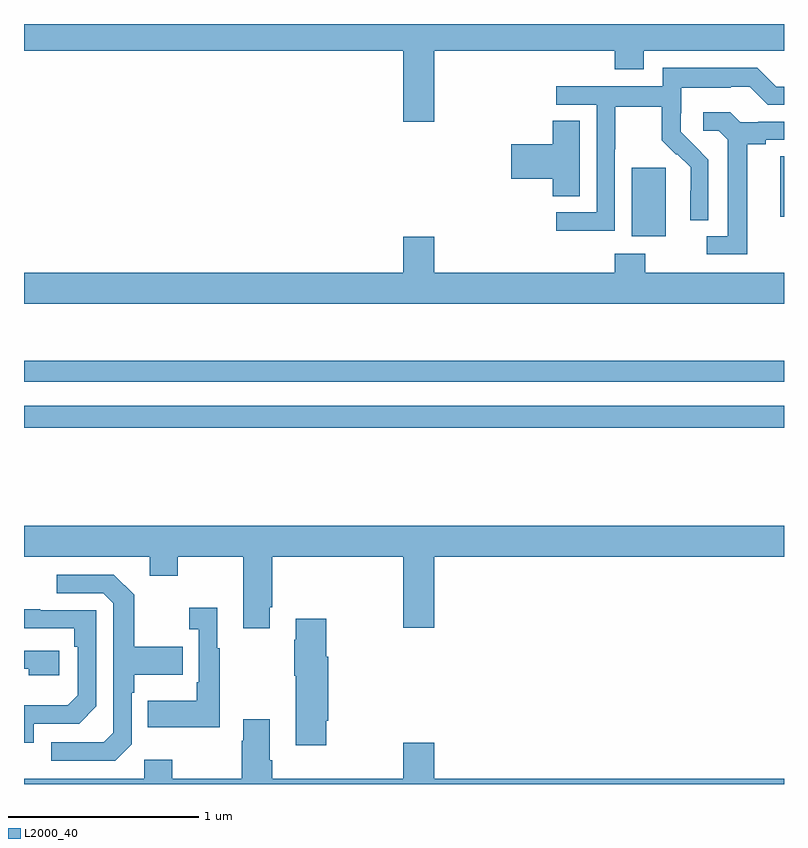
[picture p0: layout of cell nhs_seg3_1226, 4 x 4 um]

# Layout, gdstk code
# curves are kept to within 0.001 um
import gdstk
lib = gdstk.Library(unit=1e-6, precision=1e-09)
def R(c, l, rs):  # rectangles x0, y0, x1, y1
    for r in rs: c.add(gdstk.rectangle(r[:2], r[2:], *l))
def P(c, l, *ps):  # polygons
    for p in ps: c.add(gdstk.Polygon(p, *l))
L2000_40 = (2000, 40)

nhs_seg3_1226 = lib.new_cell('nhs_seg3_1226')
R(nhs_seg3_1226, L2000_40, [(175,688.276,179,688.392), (175,688.518,179,688.627), (178.199,689.282,178.378,689.643), (178.979,689.385,179,689.705)])
P(nhs_seg3_1226, L2000_40, [(177.16,690.26),(178.109,690.26),(178.109,690.161),(178.261,690.161),(178.261,690.26),(179,690.26),(179,690.4),(175,690.4),(175,690.26),(176.996,690.26),(176.996,689.886),(177.16,689.886)],
  [(178.11,689.74),(178.113,689.74),(178.113,689.964),(178.357,689.964),(178.357,689.789),(178.434,689.712),(178.437,689.715),(178.508,689.645),(178.508,689.522),(178.506,689.522),(178.506,689.368),(178.602,689.368),(178.602,689.686),(178.456,689.834),(178.456,689.931),(178.458,689.931),(178.458,690.065),(178.721,690.065),(178.721,690.069),(178.821,690.069),(178.914,689.976),(179,689.976),(179,690.069),(178.959,690.069),(178.859,690.169),(178.362,690.169),(178.362,690.072),(177.801,690.072),(177.801,689.976),(178.014,689.976),(178.014,689.409),(177.801,689.409),(177.801,689.311),(178.11,689.311)],
  [(178.807,689.768),(178.903,689.768),(178.903,689.79),(179,689.79),(179,689.886),(178.864,689.886),(178.864,689.883),(178.77,689.883),(178.718,689.935),(178.575,689.935),(178.575,689.838),(178.656,689.838),(178.703,689.791),(178.703,689.283),(178.593,689.283),(178.593,689.187),(178.807,689.187)],
  [(177.925,689.891),(177.782,689.891),(177.782,689.768),(177.564,689.768),(177.564,689.585),(177.782,689.585),(177.782,689.494),(177.925,689.494)],
  [(179,689.092),(178.269,689.092),(178.269,689.191),(178.109,689.191),(178.109,689.092),(177.16,689.092),(177.16,689.281),(176.996,689.281),(176.996,689.092),(175,689.092),(175,688.928),(179,688.928)],
  [(176.293,687.331),(176.306,687.331),(176.306,687.596),(176.996,687.596),(176.996,687.222),(177.16,687.222),(177.16,687.596),(179,687.596),(179,687.76),(175,687.76),(175,687.596),(175.661,687.596),(175.661,687.497),(175.809,687.497),(175.809,687.596),(176.153,687.596),(176.153,687.219),(176.293,687.219)],
  [(175.566,686.61),(175.566,686.879),(175.579,686.879),(175.579,686.975),(175.835,686.975),(175.835,687.123),(175.579,687.123),(175.579,687.395),(175.473,687.501),(175.173,687.501),(175.173,687.405),(175.416,687.405),(175.47,687.351),(175.47,686.67),(175.419,686.619),(175.143,686.619),(175.143,686.523),(175.479,686.523)],
  [(176.029,687.115),(176.017,687.115),(176.017,687.328),(175.869,687.328),(175.869,687.215),(175.92,687.215),(175.92,686.935),(175.908,686.935),(175.908,686.839),(175.651,686.839),(175.651,686.699),(176.029,686.699)],
  [(175.05,686.718),(175.29,686.718),(175.38,686.808),(175.38,687.315),(175.085,687.315),(175.085,687.32),(175,687.32),(175,687.219),(175.264,687.219),(175.264,687.122),(175.284,687.122),(175.284,686.868),(175.231,686.815),(175,686.815),(175,686.616),(175.05,686.616)],
  [(176.592,686.733),(176.602,686.733),(176.602,687.069),(176.592,687.069),(176.592,687.271),(176.429,687.271),(176.429,687.158),(176.422,687.158),(176.422,686.969),(176.429,686.969),(176.429,686.604),(176.592,686.604)],
  [(175.186,687.102),(175,687.102),(175,687.006),(175.025,687.006),(175.025,686.972),(175.186,686.972)],
  [(179,686.428),(177.16,686.428),(177.16,686.617),(176.996,686.617),(176.996,686.428),(176.306,686.428),(176.306,686.524),(176.293,686.524),(176.293,686.74),(176.153,686.74),(176.153,686.627),(176.146,686.627),(176.146,686.428),(175.779,686.428),(175.779,686.527),(175.632,686.527),(175.632,686.428),(175,686.428),(175,686.4),(179,686.4)])

lib.write_gds('nhs_seg3_1226.gds')
